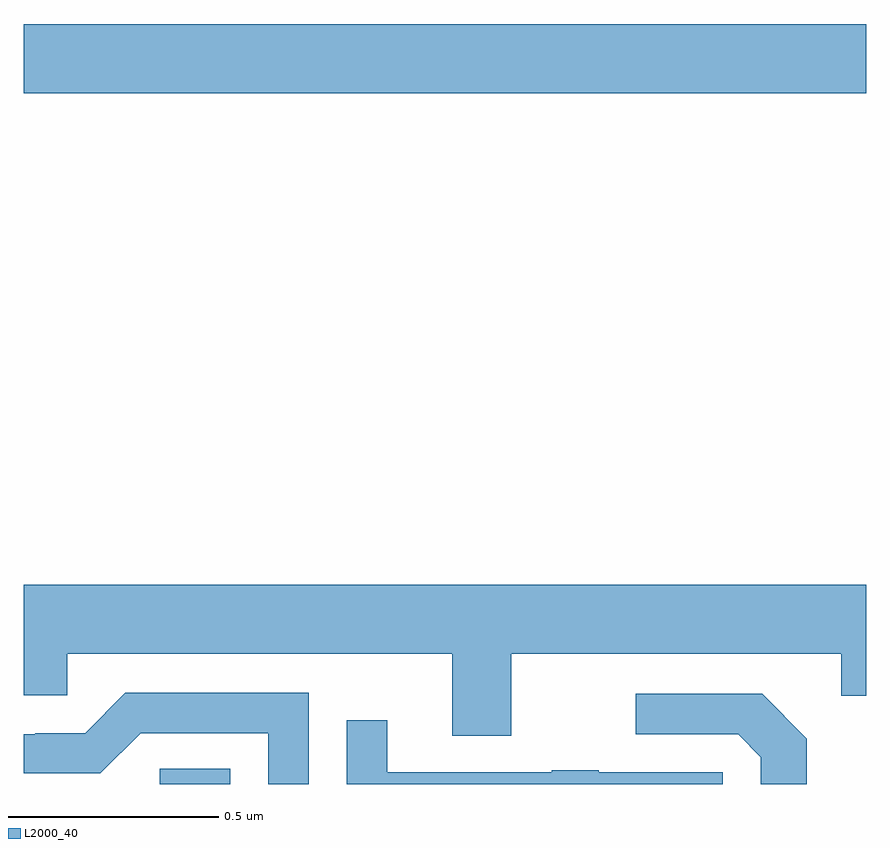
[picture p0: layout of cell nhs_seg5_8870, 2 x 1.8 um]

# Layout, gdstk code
import gdstk
lib = gdstk.Library(unit=1e-6, precision=1e-09)
def R(c, l, rs):  # rectangles x0, y0, x1, y1
    for r in rs: c.add(gdstk.rectangle(r[:2], r[2:], *l))
def P(c, l, *ps):  # polygons
    for p in ps: c.add(gdstk.Polygon(p, *l))
L2000_40 = (2000, 40)

nhs_seg5_8870 = lib.new_cell('nhs_seg5_8870')
R(nhs_seg5_8870, L2000_40, [(227.322,841.799,227.49,841.835), (227,843.44,229,843.604)])
P(nhs_seg5_8870, L2000_40, [(228.157,842.108),(228.941,842.108),(228.941,842.009),(229,842.009),(229,842.272),(227,842.272),(227,842.01),(227.103,842.01),(227.103,842.108),(228.017,842.108),(228.017,841.914),(228.157,841.914)],
  [(227.676,842.016),(227.241,842.016),(227.145,841.92),(227.027,841.92),(227.027,841.917),(227,841.917),(227,841.824),(227.181,841.824),(227.277,841.92),(227.58,841.92),(227.58,841.799),(227.676,841.799)],
  [(228.859,841.907),(228.753,842.013),(228.453,842.013),(228.453,841.917),(228.696,841.917),(228.75,841.863),(228.75,841.799),(228.859,841.799)],
  [(228.66,841.827),(228.365,841.827),(228.365,841.832),(228.253,841.832),(228.253,841.827),(227.863,841.827),(227.863,841.951),(227.767,841.951),(227.767,841.799),(228.66,841.799)])

lib.write_gds('nhs_seg5_8870.gds')
